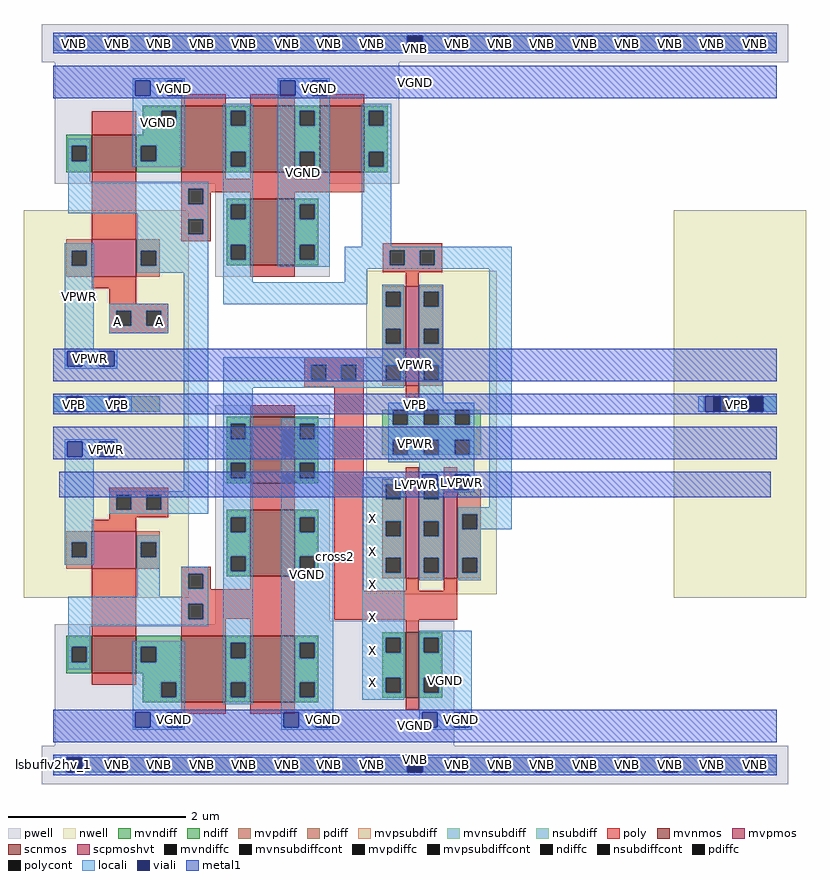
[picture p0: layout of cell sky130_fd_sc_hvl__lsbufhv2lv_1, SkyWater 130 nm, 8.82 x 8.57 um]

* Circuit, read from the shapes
.subckt sky130_fd_sc_hvl__lsbufhv2lv_1 A LVPWR VGND VNB VPB VPWR X
XM1 VGND n1 n2 VNB sky130_fd_pr__nfet_g5v0d10v5 w=0.42 l=0.5
XM2 VGND A n1 VNB sky130_fd_pr__nfet_g5v0d10v5 w=0.42 l=0.5
XM3 n3 n2 VGND VNB sky130_fd_pr__nfet_g5v0d10v5 w=0.75 l=0.5 m=4
XM4 n4 n1 VGND VNB sky130_fd_pr__nfet_g5v0d10v5 w=0.75 l=0.5 m=4
XM5 VGND n3 X VNB sky130_fd_pr__nfet_01v8 w=0.74 l=0.15
XM6 n2 n1 VPWR VPB sky130_fd_pr__pfet_g5v0d10v5 w=0.42 l=0.5
XM7 n1 A VPWR VPB sky130_fd_pr__pfet_g5v0d10v5 w=0.42 l=0.5
XM8 LVPWR n3 X LVPWR sky130_fd_pr__pfet_01v8_hvt w=1.12 l=0.15
XM9 LVPWR n4 n3 LVPWR sky130_fd_pr__pfet_01v8_hvt w=1.12 l=0.15
XM10 n4 n3 LVPWR LVPWR sky130_fd_pr__pfet_01v8_hvt w=1.12 l=0.15
.ends

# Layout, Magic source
magic
tech sky130B
magscale 1 2
<< nwell >>
rect -66 377 306 1251
rect 706 385 1000 1115
rect 1400 377 1698 1251
<< pwell >>
rect -26 1585 1658 1671
rect 4 1311 780 1585
rect 366 1101 624 1311
rect 366 325 624 811
rect 366 317 904 325
rect 4 43 904 317
rect -26 -43 1658 43
<< scnmos >>
rect 795 151 825 299
<< scpmoshvt >>
rect 795 855 825 1079
rect 795 421 825 645
rect 881 421 911 645
<< mvnmos >>
rect 87 1337 187 1421
rect 289 1337 389 1487
rect 445 1337 545 1487
rect 601 1337 701 1487
rect 445 1127 545 1277
rect 445 635 545 785
rect 445 425 545 575
rect 87 207 187 291
rect 289 141 389 291
rect 445 141 545 291
<< mvpmos >>
rect 87 1101 187 1185
rect 87 443 187 527
<< ndiff >>
rect 742 287 795 299
rect 742 253 750 287
rect 784 253 795 287
rect 742 197 795 253
rect 742 163 750 197
rect 784 163 795 197
rect 742 151 795 163
rect 825 287 878 299
rect 825 253 836 287
rect 870 253 878 287
rect 825 197 878 253
rect 825 163 836 197
rect 870 163 878 197
rect 825 151 878 163
<< pdiff >>
rect 742 1067 795 1079
rect 742 1033 750 1067
rect 784 1033 795 1067
rect 742 984 795 1033
rect 742 950 750 984
rect 784 950 795 984
rect 742 901 795 950
rect 742 867 750 901
rect 784 867 795 901
rect 742 855 795 867
rect 825 1067 878 1079
rect 825 1033 836 1067
rect 870 1033 878 1067
rect 825 984 878 1033
rect 825 950 836 984
rect 870 950 878 984
rect 825 901 878 950
rect 825 867 836 901
rect 870 867 878 901
rect 825 855 878 867
rect 742 633 795 645
rect 742 599 750 633
rect 784 599 795 633
rect 742 550 795 599
rect 742 516 750 550
rect 784 516 795 550
rect 742 467 795 516
rect 742 433 750 467
rect 784 433 795 467
rect 742 421 795 433
rect 825 633 881 645
rect 825 599 836 633
rect 870 599 881 633
rect 825 550 881 599
rect 825 516 836 550
rect 870 516 881 550
rect 825 467 881 516
rect 825 433 836 467
rect 870 433 881 467
rect 825 421 881 433
rect 911 565 964 645
rect 911 531 922 565
rect 956 531 964 565
rect 911 467 964 531
rect 911 433 922 467
rect 956 433 964 467
rect 911 421 964 433
<< mvndiff >>
rect 202 1475 289 1487
rect 202 1441 244 1475
rect 278 1441 289 1475
rect 202 1421 289 1441
rect 30 1396 87 1421
rect 30 1362 42 1396
rect 76 1362 87 1396
rect 30 1337 87 1362
rect 187 1396 289 1421
rect 187 1362 198 1396
rect 232 1362 289 1396
rect 187 1337 289 1362
rect 389 1475 445 1487
rect 389 1441 400 1475
rect 434 1441 445 1475
rect 389 1383 445 1441
rect 389 1349 400 1383
rect 434 1349 445 1383
rect 389 1337 445 1349
rect 545 1475 601 1487
rect 545 1441 556 1475
rect 590 1441 601 1475
rect 545 1383 601 1441
rect 545 1349 556 1383
rect 590 1349 601 1383
rect 545 1337 601 1349
rect 701 1475 754 1487
rect 701 1441 712 1475
rect 746 1441 754 1475
rect 701 1383 754 1441
rect 701 1349 712 1383
rect 746 1349 754 1383
rect 701 1337 754 1349
rect 392 1265 445 1277
rect 392 1231 400 1265
rect 434 1231 445 1265
rect 392 1173 445 1231
rect 392 1139 400 1173
rect 434 1139 445 1173
rect 392 1127 445 1139
rect 545 1265 598 1277
rect 545 1231 556 1265
rect 590 1231 598 1265
rect 545 1173 598 1231
rect 545 1139 556 1173
rect 590 1139 598 1173
rect 545 1127 598 1139
rect 392 769 445 785
rect 392 735 400 769
rect 434 735 445 769
rect 392 681 445 735
rect 392 647 400 681
rect 434 647 445 681
rect 392 635 445 647
rect 545 769 598 785
rect 545 735 556 769
rect 590 735 598 769
rect 545 681 598 735
rect 545 647 556 681
rect 590 647 598 681
rect 545 635 598 647
rect 392 559 445 575
rect 392 525 400 559
rect 434 525 445 559
rect 392 471 445 525
rect 392 437 400 471
rect 434 437 445 471
rect 392 425 445 437
rect 545 559 598 575
rect 545 525 556 559
rect 590 525 598 559
rect 545 471 598 525
rect 545 437 556 471
rect 590 437 598 471
rect 545 425 598 437
rect 30 266 87 291
rect 30 232 42 266
rect 76 232 87 266
rect 30 207 87 232
rect 187 266 289 291
rect 187 232 198 266
rect 232 232 289 266
rect 187 207 289 232
rect 202 187 289 207
rect 202 153 244 187
rect 278 153 289 187
rect 202 141 289 153
rect 389 275 445 291
rect 389 241 400 275
rect 434 241 445 275
rect 389 187 445 241
rect 389 153 400 187
rect 434 153 445 187
rect 389 141 445 153
rect 545 275 598 291
rect 545 241 556 275
rect 590 241 598 275
rect 545 187 598 241
rect 545 153 556 187
rect 590 153 598 187
rect 545 141 598 153
<< mvpdiff >>
rect 30 1160 87 1185
rect 30 1126 42 1160
rect 76 1126 87 1160
rect 30 1101 87 1126
rect 187 1160 240 1185
rect 187 1126 198 1160
rect 232 1126 240 1160
rect 187 1101 240 1126
rect 30 502 87 527
rect 30 468 42 502
rect 76 468 87 502
rect 30 443 87 468
rect 187 502 240 527
rect 187 468 198 502
rect 232 468 240 502
rect 187 443 240 468
<< ndiffc >>
rect 750 253 784 287
rect 750 163 784 197
rect 836 253 870 287
rect 836 163 870 197
<< pdiffc >>
rect 750 1033 784 1067
rect 750 950 784 984
rect 750 867 784 901
rect 836 1033 870 1067
rect 836 950 870 984
rect 836 867 870 901
rect 750 599 784 633
rect 750 516 784 550
rect 750 433 784 467
rect 836 599 870 633
rect 836 516 870 550
rect 836 433 870 467
rect 922 531 956 565
rect 922 433 956 467
<< mvndiffc >>
rect 244 1441 278 1475
rect 42 1362 76 1396
rect 198 1362 232 1396
rect 400 1441 434 1475
rect 400 1349 434 1383
rect 556 1441 590 1475
rect 556 1349 590 1383
rect 712 1441 746 1475
rect 712 1349 746 1383
rect 400 1231 434 1265
rect 400 1139 434 1173
rect 556 1231 590 1265
rect 556 1139 590 1173
rect 400 735 434 769
rect 400 647 434 681
rect 556 735 590 769
rect 556 647 590 681
rect 400 525 434 559
rect 400 437 434 471
rect 556 525 590 559
rect 556 437 590 471
rect 42 232 76 266
rect 198 232 232 266
rect 244 153 278 187
rect 400 241 434 275
rect 400 153 434 187
rect 556 241 590 275
rect 556 153 590 187
<< mvpdiffc >>
rect 42 1126 76 1160
rect 198 1126 232 1160
rect 42 468 76 502
rect 198 468 232 502
<< nsubdiff >>
rect 742 767 766 801
rect 800 767 836 801
rect 870 767 906 801
rect 940 767 964 801
rect 742 733 964 767
rect 742 699 766 733
rect 800 699 836 733
rect 870 699 906 733
rect 940 699 964 733
<< mvpsubdiff >>
rect 0 1611 31 1645
rect 65 1611 127 1645
rect 161 1611 223 1645
rect 257 1611 319 1645
rect 353 1611 415 1645
rect 449 1611 511 1645
rect 545 1611 607 1645
rect 641 1611 703 1645
rect 737 1611 799 1645
rect 833 1611 895 1645
rect 929 1611 991 1645
rect 1025 1611 1087 1645
rect 1121 1611 1183 1645
rect 1217 1611 1279 1645
rect 1313 1611 1375 1645
rect 1409 1611 1471 1645
rect 1505 1611 1567 1645
rect 1601 1611 1632 1645
rect 0 -17 31 17
rect 65 -17 127 17
rect 161 -17 223 17
rect 257 -17 319 17
rect 353 -17 415 17
rect 449 -17 511 17
rect 545 -17 607 17
rect 641 -17 703 17
rect 737 -17 799 17
rect 833 -17 895 17
rect 929 -17 991 17
rect 1025 -17 1087 17
rect 1121 -17 1183 17
rect 1217 -17 1279 17
rect 1313 -17 1375 17
rect 1409 -17 1471 17
rect 1505 -17 1567 17
rect 1601 -17 1632 17
<< mvnsubdiff >>
rect 0 797 31 831
rect 65 797 127 831
rect 161 797 240 831
rect 1466 797 1490 831
rect 1524 797 1567 831
rect 1601 797 1632 831
<< nsubdiffcont >>
rect 766 767 800 801
rect 836 767 870 801
rect 906 767 940 801
rect 766 699 800 733
rect 836 699 870 733
rect 906 699 940 733
<< mvpsubdiffcont >>
rect 31 1611 65 1645
rect 127 1611 161 1645
rect 223 1611 257 1645
rect 319 1611 353 1645
rect 415 1611 449 1645
rect 511 1611 545 1645
rect 607 1611 641 1645
rect 703 1611 737 1645
rect 799 1611 833 1645
rect 895 1611 929 1645
rect 991 1611 1025 1645
rect 1087 1611 1121 1645
rect 1183 1611 1217 1645
rect 1279 1611 1313 1645
rect 1375 1611 1409 1645
rect 1471 1611 1505 1645
rect 1567 1611 1601 1645
rect 31 -17 65 17
rect 127 -17 161 17
rect 223 -17 257 17
rect 319 -17 353 17
rect 415 -17 449 17
rect 511 -17 545 17
rect 607 -17 641 17
rect 703 -17 737 17
rect 799 -17 833 17
rect 895 -17 929 17
rect 991 -17 1025 17
rect 1087 -17 1121 17
rect 1183 -17 1217 17
rect 1279 -17 1313 17
rect 1375 -17 1409 17
rect 1471 -17 1505 17
rect 1567 -17 1601 17
<< mvnsubdiffcont >>
rect 31 797 65 831
rect 127 797 161 831
rect 1490 797 1524 831
rect 1567 797 1601 831
<< poly >>
rect 289 1487 389 1513
rect 445 1487 545 1513
rect 601 1487 701 1513
rect 87 1421 187 1474
rect 87 1185 187 1337
rect 289 1322 389 1337
rect 445 1322 545 1337
rect 601 1322 701 1337
rect 289 1299 701 1322
rect 289 1265 305 1299
rect 339 1292 701 1299
rect 339 1265 355 1292
rect 445 1277 545 1292
rect 289 1231 355 1265
rect 289 1197 305 1231
rect 339 1197 355 1231
rect 289 1181 355 1197
rect 743 1161 877 1177
rect 743 1127 759 1161
rect 793 1127 827 1161
rect 861 1127 877 1161
rect 445 1101 545 1127
rect 743 1111 877 1127
rect 87 1075 187 1101
rect 795 1079 825 1111
rect 126 1040 187 1075
rect 126 1024 260 1040
rect 126 990 142 1024
rect 176 990 210 1024
rect 244 990 260 1024
rect 126 974 260 990
rect 566 903 700 919
rect 566 869 582 903
rect 616 869 650 903
rect 684 869 700 903
rect 566 853 700 869
rect 445 785 545 811
rect 126 609 260 625
rect 126 575 142 609
rect 176 575 210 609
rect 244 575 260 609
rect 445 575 545 635
rect 126 559 260 575
rect 126 553 187 559
rect 87 527 187 553
rect 87 291 187 443
rect 289 431 355 447
rect 289 397 305 431
rect 339 397 355 431
rect 289 396 355 397
rect 445 396 545 425
rect 289 363 545 396
rect 289 329 305 363
rect 339 330 545 363
rect 339 329 389 330
rect 289 291 389 329
rect 445 291 545 330
rect 634 393 700 853
rect 795 829 825 855
rect 795 645 825 671
rect 881 645 911 671
rect 795 393 825 421
rect 881 393 911 421
rect 634 327 911 393
rect 795 299 825 327
rect 87 181 187 207
rect 289 115 389 141
rect 445 115 545 141
rect 795 125 825 151
<< polycont >>
rect 305 1265 339 1299
rect 305 1197 339 1231
rect 759 1127 793 1161
rect 827 1127 861 1161
rect 142 990 176 1024
rect 210 990 244 1024
rect 582 869 616 903
rect 650 869 684 903
rect 142 575 176 609
rect 210 575 244 609
rect 305 397 339 431
rect 305 329 339 363
<< locali >>
rect 0 1611 31 1645
rect 65 1611 127 1645
rect 161 1611 223 1645
rect 257 1611 319 1645
rect 353 1611 415 1645
rect 449 1611 511 1645
rect 545 1611 607 1645
rect 641 1611 703 1645
rect 737 1611 799 1645
rect 833 1611 895 1645
rect 929 1611 991 1645
rect 1025 1611 1087 1645
rect 1121 1611 1183 1645
rect 1217 1611 1279 1645
rect 1313 1611 1375 1645
rect 1409 1611 1471 1645
rect 1505 1611 1567 1645
rect 1601 1611 1632 1645
rect 179 1543 297 1549
rect 179 1509 185 1543
rect 219 1509 257 1543
rect 291 1509 297 1543
rect 179 1475 297 1509
rect 506 1543 624 1549
rect 506 1509 512 1543
rect 546 1509 584 1543
rect 618 1509 624 1543
rect 179 1441 244 1475
rect 278 1441 297 1475
rect 34 1396 84 1412
rect 34 1362 42 1396
rect 76 1362 84 1396
rect 34 1315 84 1362
rect 179 1396 297 1441
rect 179 1362 198 1396
rect 232 1362 297 1396
rect 179 1349 297 1362
rect 384 1475 450 1491
rect 384 1441 400 1475
rect 434 1441 450 1475
rect 384 1383 450 1441
rect 384 1349 400 1383
rect 434 1349 450 1383
rect 34 1299 350 1315
rect 34 1265 305 1299
rect 339 1265 350 1299
rect 34 1244 350 1265
rect 190 1231 350 1244
rect 190 1197 305 1231
rect 339 1197 350 1231
rect 26 1160 92 1176
rect 26 1126 42 1160
rect 76 1126 92 1160
rect 26 939 92 1126
rect 190 1160 350 1197
rect 190 1126 198 1160
rect 232 1126 350 1160
rect 190 1110 350 1126
rect 126 1024 260 1040
rect 126 990 142 1024
rect 176 990 210 1024
rect 244 990 260 1024
rect 126 974 260 990
rect 26 933 144 939
rect 26 899 32 933
rect 66 899 104 933
rect 138 899 144 933
rect 26 893 144 899
rect 0 797 31 831
rect 65 797 127 831
rect 161 797 177 831
rect 26 729 144 735
rect 26 695 32 729
rect 66 695 104 729
rect 138 695 144 729
rect 26 689 144 695
rect 26 502 92 689
rect 294 617 350 1110
rect 384 1265 450 1349
rect 384 1231 400 1265
rect 434 1231 450 1265
rect 384 1173 450 1231
rect 384 1139 400 1173
rect 434 1139 450 1173
rect 384 1089 450 1139
rect 506 1475 624 1509
rect 506 1441 556 1475
rect 590 1441 624 1475
rect 506 1383 624 1441
rect 506 1349 556 1383
rect 590 1349 624 1383
rect 506 1265 624 1349
rect 506 1231 556 1265
rect 590 1231 624 1265
rect 506 1173 624 1231
rect 506 1139 556 1173
rect 590 1139 624 1173
rect 696 1475 762 1491
rect 696 1441 712 1475
rect 746 1441 762 1475
rect 696 1383 762 1441
rect 696 1349 712 1383
rect 746 1349 762 1383
rect 696 1169 762 1349
rect 506 1123 624 1139
rect 658 1161 1034 1169
rect 658 1127 759 1161
rect 793 1127 827 1161
rect 861 1127 1034 1161
rect 658 1119 1034 1127
rect 658 1089 708 1119
rect 384 1039 708 1089
rect 742 1067 792 1083
rect 742 1033 750 1067
rect 784 1033 792 1067
rect 742 984 792 1033
rect 742 950 750 984
rect 784 950 792 984
rect 742 919 792 950
rect 126 609 350 617
rect 126 575 142 609
rect 176 575 210 609
rect 244 575 350 609
rect 126 567 350 575
rect 384 903 792 919
rect 384 869 582 903
rect 616 869 650 903
rect 684 901 792 903
rect 684 869 750 901
rect 384 867 750 869
rect 784 867 792 901
rect 384 851 792 867
rect 826 1067 880 1083
rect 826 1033 836 1067
rect 870 1033 880 1067
rect 826 984 880 1033
rect 826 950 836 984
rect 870 950 880 984
rect 826 901 880 950
rect 826 867 836 901
rect 870 867 880 901
rect 384 769 450 851
rect 826 817 880 867
rect 756 801 950 817
rect 384 735 400 769
rect 434 735 450 769
rect 384 681 450 735
rect 384 647 400 681
rect 434 647 450 681
rect 384 559 450 647
rect 384 525 400 559
rect 434 525 450 559
rect 26 468 42 502
rect 76 468 92 502
rect 26 452 92 468
rect 190 502 240 518
rect 190 468 198 502
rect 232 468 240 502
rect 190 379 240 468
rect 384 471 450 525
rect 289 431 350 447
rect 289 397 305 431
rect 339 397 350 431
rect 289 379 350 397
rect 34 363 350 379
rect 34 329 305 363
rect 339 329 350 363
rect 34 313 350 329
rect 384 437 400 471
rect 434 437 450 471
rect 34 266 84 313
rect 34 232 42 266
rect 76 232 84 266
rect 34 216 84 232
rect 179 266 297 279
rect 179 232 198 266
rect 232 232 297 266
rect 179 187 297 232
rect 179 153 244 187
rect 278 153 297 187
rect 179 119 297 153
rect 384 275 450 437
rect 384 241 400 275
rect 434 241 450 275
rect 384 187 450 241
rect 384 153 400 187
rect 434 153 450 187
rect 384 137 450 153
rect 514 769 632 782
rect 514 735 556 769
rect 590 735 632 769
rect 514 681 632 735
rect 756 767 766 801
rect 800 767 836 801
rect 870 767 906 801
rect 940 767 950 801
rect 756 733 950 767
rect 756 699 766 733
rect 800 699 836 733
rect 870 699 906 733
rect 940 699 950 733
rect 756 683 950 699
rect 514 647 556 681
rect 590 647 632 681
rect 826 655 950 683
rect 514 559 632 647
rect 514 525 556 559
rect 590 525 632 559
rect 514 471 632 525
rect 514 437 556 471
rect 590 437 632 471
rect 514 275 632 437
rect 514 241 556 275
rect 590 241 632 275
rect 514 187 632 241
rect 514 153 556 187
rect 590 153 632 187
rect 179 85 185 119
rect 219 85 257 119
rect 291 85 297 119
rect 179 79 297 85
rect 514 119 632 153
rect 697 633 792 649
rect 697 599 750 633
rect 784 599 792 633
rect 697 550 792 599
rect 697 516 750 550
rect 784 516 792 550
rect 697 467 792 516
rect 697 433 750 467
rect 784 433 792 467
rect 697 287 792 433
rect 826 621 832 655
rect 866 633 904 655
rect 870 621 904 633
rect 938 621 950 655
rect 826 599 836 621
rect 870 615 950 621
rect 870 599 880 615
rect 826 550 880 599
rect 984 581 1034 1119
rect 1455 797 1471 831
rect 1524 797 1567 831
rect 1601 797 1632 831
rect 826 516 836 550
rect 870 516 880 550
rect 826 467 880 516
rect 826 433 836 467
rect 870 433 880 467
rect 826 417 880 433
rect 914 565 1034 581
rect 914 531 922 565
rect 956 531 1034 565
rect 914 467 964 531
rect 914 433 922 467
rect 956 433 964 467
rect 914 417 964 433
rect 697 253 750 287
rect 784 253 792 287
rect 697 197 792 253
rect 697 163 750 197
rect 784 163 792 197
rect 697 147 792 163
rect 826 287 944 303
rect 826 253 836 287
rect 870 253 944 287
rect 826 197 944 253
rect 826 163 836 197
rect 870 163 944 197
rect 514 85 520 119
rect 554 85 592 119
rect 626 85 632 119
rect 514 79 632 85
rect 826 119 944 163
rect 826 85 832 119
rect 866 85 904 119
rect 938 85 944 119
rect 826 79 944 85
rect 0 -17 31 17
rect 65 -17 127 17
rect 161 -17 223 17
rect 257 -17 319 17
rect 353 -17 415 17
rect 449 -17 511 17
rect 545 -17 607 17
rect 641 -17 703 17
rect 737 -17 799 17
rect 833 -17 895 17
rect 929 -17 991 17
rect 1025 -17 1087 17
rect 1121 -17 1183 17
rect 1217 -17 1279 17
rect 1313 -17 1375 17
rect 1409 -17 1471 17
rect 1505 -17 1567 17
rect 1601 -17 1632 17
<< viali >>
rect 31 1611 65 1645
rect 127 1611 161 1645
rect 223 1611 257 1645
rect 319 1611 353 1645
rect 415 1611 449 1645
rect 511 1611 545 1645
rect 607 1611 641 1645
rect 703 1611 737 1645
rect 799 1611 833 1645
rect 895 1611 929 1645
rect 991 1611 1025 1645
rect 1087 1611 1121 1645
rect 1183 1611 1217 1645
rect 1279 1611 1313 1645
rect 1375 1611 1409 1645
rect 1471 1611 1505 1645
rect 1567 1611 1601 1645
rect 185 1509 219 1543
rect 257 1509 291 1543
rect 512 1509 546 1543
rect 584 1509 618 1543
rect 32 899 66 933
rect 104 899 138 933
rect 31 797 65 831
rect 127 797 161 831
rect 32 695 66 729
rect 104 695 138 729
rect 185 85 219 119
rect 257 85 291 119
rect 832 633 866 655
rect 832 621 836 633
rect 836 621 866 633
rect 904 621 938 655
rect 1471 797 1490 831
rect 1490 797 1505 831
rect 1567 797 1601 831
rect 520 85 554 119
rect 592 85 626 119
rect 832 85 866 119
rect 904 85 938 119
rect 31 -17 65 17
rect 127 -17 161 17
rect 223 -17 257 17
rect 319 -17 353 17
rect 415 -17 449 17
rect 511 -17 545 17
rect 607 -17 641 17
rect 703 -17 737 17
rect 799 -17 833 17
rect 895 -17 929 17
rect 991 -17 1025 17
rect 1087 -17 1121 17
rect 1183 -17 1217 17
rect 1279 -17 1313 17
rect 1375 -17 1409 17
rect 1471 -17 1505 17
rect 1567 -17 1601 17
<< metal1 >>
rect 0 1645 1632 1651
rect 0 1611 31 1645
rect 65 1611 127 1645
rect 161 1611 223 1645
rect 257 1611 319 1645
rect 353 1611 415 1645
rect 449 1611 511 1645
rect 545 1611 607 1645
rect 641 1611 703 1645
rect 737 1611 799 1645
rect 833 1611 895 1645
rect 929 1611 991 1645
rect 1025 1611 1087 1645
rect 1121 1611 1183 1645
rect 1217 1611 1279 1645
rect 1313 1611 1375 1645
rect 1409 1611 1471 1645
rect 1505 1611 1567 1645
rect 1601 1611 1632 1645
rect 0 1605 1632 1611
rect 0 1543 1632 1577
rect 0 1509 185 1543
rect 219 1509 257 1543
rect 291 1509 512 1543
rect 546 1509 584 1543
rect 618 1509 1632 1543
rect 0 1503 1632 1509
rect 0 933 1632 939
rect 0 899 32 933
rect 66 899 104 933
rect 138 899 1632 933
rect 0 865 1632 899
rect 0 831 1632 837
rect 0 797 31 831
rect 65 797 127 831
rect 161 797 1471 831
rect 1505 797 1567 831
rect 1601 797 1632 831
rect 0 791 1632 797
rect 0 729 1632 763
rect 0 695 32 729
rect 66 695 104 729
rect 138 695 1632 729
rect 0 689 1632 695
rect 14 655 1618 661
rect 14 621 832 655
rect 866 621 904 655
rect 938 621 1618 655
rect 14 604 1618 621
rect 0 119 1632 125
rect 0 85 185 119
rect 219 85 257 119
rect 291 85 520 119
rect 554 85 592 119
rect 626 85 832 119
rect 866 85 904 119
rect 938 85 1632 119
rect 0 51 1632 85
rect 0 17 1632 23
rect 0 -17 31 17
rect 65 -17 127 17
rect 161 -17 223 17
rect 257 -17 319 17
rect 353 -17 415 17
rect 449 -17 511 17
rect 545 -17 607 17
rect 641 -17 703 17
rect 737 -17 799 17
rect 833 -17 895 17
rect 929 -17 991 17
rect 1025 -17 1087 17
rect 1121 -17 1183 17
rect 1217 -17 1279 17
rect 1313 -17 1375 17
rect 1409 -17 1471 17
rect 1505 -17 1567 17
rect 1601 -17 1632 17
rect 0 -23 1632 -17
<< labels >>
flabel locali s 703 316 737 350 0 FreeSans 340 0 0 0 X
port 7 nsew signal output
flabel locali s 703 168 737 202 0 FreeSans 340 0 0 0 X
port 7 nsew signal output
flabel locali s 703 242 737 276 0 FreeSans 340 0 0 0 X
port 7 nsew signal output
flabel locali s 703 538 737 572 0 FreeSans 340 0 0 0 X
port 7 nsew signal output
flabel locali s 703 464 737 498 0 FreeSans 340 0 0 0 X
port 7 nsew signal output
flabel locali s 703 390 737 424 0 FreeSans 340 0 0 0 X
port 7 nsew signal output
flabel locali s 127 982 161 1016 0 FreeSans 340 0 0 0 A
port 1 nsew signal input
flabel locali s 223 982 257 1016 0 FreeSans 340 0 0 0 A
port 1 nsew signal input
rlabel comment s 0 0 0 0 4 lsbuflv2hv_1
flabel comment s 636 470 636 470 0 FreeSans 200 90 0 0 cross2
flabel metal1 s 0 689 1632 763 0 FreeSans 200 0 0 0 VPWR
port 6 nsew power bidirectional
flabel metal1 s 0 865 1632 939 0 FreeSans 200 0 0 0 VPWR
port 6 nsew power bidirectional
flabel metal1 s 0 1503 1632 1577 0 FreeSans 340 0 0 0 VGND
port 3 nsew ground bidirectional
flabel metal1 s 0 51 1632 125 0 FreeSans 340 0 0 0 VGND
port 3 nsew ground bidirectional
flabel metal1 s 0 0 1632 23 0 FreeSans 340 0 0 0 VNB
port 4 nsew ground bidirectional
flabel metal1 s 14 604 1618 661 0 FreeSans 340 0 0 0 LVPWR
port 2 nsew power bidirectional
flabel metal1 s 0 791 1632 837 0 FreeSans 340 0 0 0 VPB
port 5 nsew power bidirectional
flabel metal1 s 0 1605 1632 1628 0 FreeSans 340 0 0 0 VNB
port 4 nsew ground bidirectional
rlabel viali s 904 621 938 655 1 LVPWR
port 2 nsew power bidirectional
rlabel viali s 832 621 866 655 1 LVPWR
port 2 nsew power bidirectional
rlabel metal1 s 14 604 1618 661 1 LVPWR
port 2 nsew power bidirectional
rlabel locali s 179 1349 297 1549 1 VGND
port 3 nsew ground bidirectional
rlabel locali s 506 1123 624 1549 1 VGND
port 3 nsew ground bidirectional
rlabel locali s 514 79 632 782 1 VGND
port 3 nsew ground bidirectional
rlabel locali s 826 79 944 303 1 VGND
port 3 nsew ground bidirectional
rlabel viali s 904 85 938 119 1 VGND
port 3 nsew ground bidirectional
rlabel viali s 832 85 866 119 1 VGND
port 3 nsew ground bidirectional
rlabel viali s 592 85 626 119 1 VGND
port 3 nsew ground bidirectional
rlabel viali s 584 1509 618 1543 1 VGND
port 3 nsew ground bidirectional
rlabel viali s 520 85 554 119 1 VGND
port 3 nsew ground bidirectional
rlabel viali s 512 1509 546 1543 1 VGND
port 3 nsew ground bidirectional
rlabel viali s 257 1509 291 1543 1 VGND
port 3 nsew ground bidirectional
rlabel viali s 257 85 291 119 1 VGND
port 3 nsew ground bidirectional
rlabel viali s 185 1509 219 1543 1 VGND
port 3 nsew ground bidirectional
rlabel viali s 185 85 219 119 1 VGND
port 3 nsew ground bidirectional
rlabel metal1 s 0 51 1632 125 1 VGND
port 3 nsew ground bidirectional
rlabel metal1 s 0 1503 1632 1577 1 VGND
port 3 nsew ground bidirectional
rlabel locali s 0 1611 1632 1645 1 VNB
port 4 nsew ground bidirectional
rlabel viali s 1567 1611 1601 1645 1 VNB
port 4 nsew ground bidirectional
rlabel viali s 1567 -17 1601 17 1 VNB
port 4 nsew ground bidirectional
rlabel viali s 1471 1611 1505 1645 1 VNB
port 4 nsew ground bidirectional
rlabel viali s 1471 -17 1505 17 1 VNB
port 4 nsew ground bidirectional
rlabel viali s 1375 1611 1409 1645 1 VNB
port 4 nsew ground bidirectional
rlabel viali s 1375 -17 1409 17 1 VNB
port 4 nsew ground bidirectional
rlabel viali s 1279 1611 1313 1645 1 VNB
port 4 nsew ground bidirectional
rlabel viali s 1279 -17 1313 17 1 VNB
port 4 nsew ground bidirectional
rlabel viali s 1183 1611 1217 1645 1 VNB
port 4 nsew ground bidirectional
rlabel viali s 1183 -17 1217 17 1 VNB
port 4 nsew ground bidirectional
rlabel viali s 1087 1611 1121 1645 1 VNB
port 4 nsew ground bidirectional
rlabel viali s 1087 -17 1121 17 1 VNB
port 4 nsew ground bidirectional
rlabel viali s 991 1611 1025 1645 1 VNB
port 4 nsew ground bidirectional
rlabel viali s 991 -17 1025 17 1 VNB
port 4 nsew ground bidirectional
rlabel viali s 895 1611 929 1645 1 VNB
port 4 nsew ground bidirectional
rlabel viali s 895 -17 929 17 1 VNB
port 4 nsew ground bidirectional
rlabel viali s 799 1611 833 1645 1 VNB
port 4 nsew ground bidirectional
rlabel viali s 799 -17 833 17 1 VNB
port 4 nsew ground bidirectional
rlabel viali s 703 1611 737 1645 1 VNB
port 4 nsew ground bidirectional
rlabel viali s 703 -17 737 17 1 VNB
port 4 nsew ground bidirectional
rlabel viali s 607 1611 641 1645 1 VNB
port 4 nsew ground bidirectional
rlabel viali s 607 -17 641 17 1 VNB
port 4 nsew ground bidirectional
rlabel viali s 511 1611 545 1645 1 VNB
port 4 nsew ground bidirectional
rlabel viali s 511 -17 545 17 1 VNB
port 4 nsew ground bidirectional
rlabel viali s 415 1611 449 1645 1 VNB
port 4 nsew ground bidirectional
rlabel viali s 415 -17 449 17 1 VNB
port 4 nsew ground bidirectional
rlabel viali s 319 1611 353 1645 1 VNB
port 4 nsew ground bidirectional
rlabel viali s 319 -17 353 17 1 VNB
port 4 nsew ground bidirectional
rlabel viali s 223 1611 257 1645 1 VNB
port 4 nsew ground bidirectional
rlabel viali s 223 -17 257 17 1 VNB
port 4 nsew ground bidirectional
rlabel viali s 127 1611 161 1645 1 VNB
port 4 nsew ground bidirectional
rlabel viali s 127 -17 161 17 1 VNB
port 4 nsew ground bidirectional
rlabel viali s 31 1611 65 1645 1 VNB
port 4 nsew ground bidirectional
rlabel viali s 31 -17 65 17 1 VNB
port 4 nsew ground bidirectional
rlabel metal1 s 0 -23 1632 23 1 VNB
port 4 nsew ground bidirectional
rlabel metal1 s 0 1605 1632 1651 1 VNB
port 4 nsew ground bidirectional
rlabel locali s 1455 797 1632 831 1 VPB
port 5 nsew power bidirectional
rlabel viali s 1567 797 1601 831 1 VPB
port 5 nsew power bidirectional
rlabel viali s 1471 797 1505 831 1 VPB
port 5 nsew power bidirectional
rlabel viali s 127 797 161 831 1 VPB
port 5 nsew power bidirectional
rlabel viali s 31 797 65 831 1 VPB
port 5 nsew power bidirectional
rlabel metal1 s 0 791 1632 837 1 VPB
port 5 nsew power bidirectional
rlabel locali s 26 939 92 1176 1 VPWR
port 6 nsew power bidirectional
rlabel locali s 26 893 144 939 1 VPWR
port 6 nsew power bidirectional
rlabel viali s 104 899 138 933 1 VPWR
port 6 nsew power bidirectional
rlabel viali s 104 695 138 729 1 VPWR
port 6 nsew power bidirectional
rlabel viali s 32 899 66 933 1 VPWR
port 6 nsew power bidirectional
rlabel viali s 32 695 66 729 1 VPWR
port 6 nsew power bidirectional
rlabel metal1 s 0 689 1632 763 1 VPWR
port 6 nsew power bidirectional
rlabel metal1 s 0 865 1632 939 1 VPWR
port 6 nsew power bidirectional
<< properties >>
string FIXED_BBOX 0 0 1632 1628
string GDS_END 146382
string GDS_FILE $PDKPATH/libs.ref/sky130_fd_sc_hvl/gds/sky130_fd_sc_hvl.gds
string GDS_START 127692
string LEFclass CORE
string LEFsite unithvdbl
string LEFsymmetry X Y
string MASKHINTS_HVI 22 34 706 1316
<< end >>
